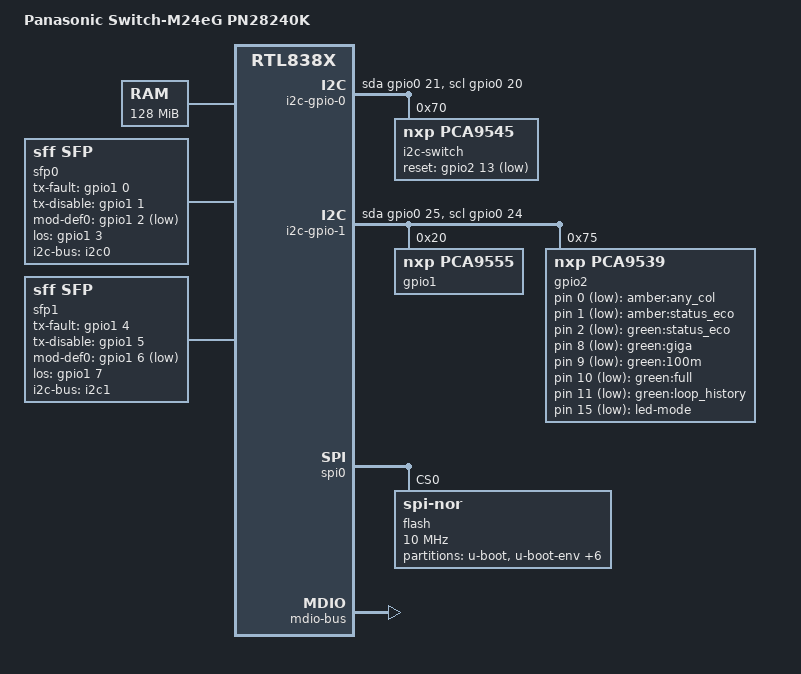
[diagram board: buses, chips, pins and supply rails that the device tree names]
// SPDX-License-Identifier: GPL-2.0-or-later OR MIT

#include "rtl838x.dtsi"

#include <dt-bindings/input/input.h>
#include <dt-bindings/gpio/gpio.h>

/ {
	compatible = "panasonic,m24eg-pn28240k", "realtek,rtl838x-soc";
	model = "Panasonic Switch-M24eG PN28240K";

	aliases {
		led-boot = &led_status_eco_green;
		led-failsafe = &led_status_eco_amber;
		led-running = &led_status_eco_green;
		led-upgrade = &led_status_eco_green;
	};

	chosen {
		bootargs = "console=ttyS0,9600";
	};

	memory@0 {
		device_type = "memory";
		reg = <0x0 0x8000000>;
	};

	leds {
		compatible = "gpio-leds";

		any_collision {
			label = "amber:any_col";
			gpios = <&gpio2 0 GPIO_ACTIVE_LOW>;
		};

		led_status_eco_amber: status_eco_amber {
			label = "amber:status_eco";
			gpios = <&gpio2 1 GPIO_ACTIVE_LOW>;
		};

		led_status_eco_green: status_eco_green {
			label = "green:status_eco";
			gpios = <&gpio2 2 GPIO_ACTIVE_LOW>;
		};

		giga {
			label = "green:giga";
			gpios = <&gpio2 8 GPIO_ACTIVE_LOW>;
		};

		100m {
			label = "green:100m";
			gpios = <&gpio2 9 GPIO_ACTIVE_LOW>;
		};

		full_duplex {
			label = "green:full";
			gpios = <&gpio2 10 GPIO_ACTIVE_LOW>;
		};

		loop_history {
			label = "green:loop_history";
			gpios = <&gpio2 11 GPIO_ACTIVE_LOW>;
		};
	};

	keys {
		compatible = "gpio-keys-polled";
		poll-interval = <20>;

		led_mode {
			label = "led-mode";
			gpios = <&gpio2 15 GPIO_ACTIVE_LOW>;
			linux,code = <BTN_0>;
		};
	};

	/* Switch-M24eG PN28240K has no RTL8231 chip */
	/delete-node/ rtl8231-gpio;

	i2c-gpio-0 {
		compatible = "i2c-gpio";
		/* SoC GPIO 12 */
		scl-gpios = <&gpio0 20 (GPIO_ACTIVE_HIGH | GPIO_OPEN_DRAIN)>;
		/* SoC GPIO 13 */
		sda-gpios = <&gpio0 21 (GPIO_ACTIVE_HIGH | GPIO_OPEN_DRAIN)>;
		i2c-gpio,delay-us = <2>;
		#address-cells = <1>;
		#size-cells = <0>;

		i2c-switch@70 {
			compatible = "nxp,pca9545";
			reset-gpios = <&gpio2 13 GPIO_ACTIVE_LOW>;
			reg = <0x70>;
			#address-cells = <1>;
			#size-cells = <0>;

			/* for port 23 (combo) SFP */
			i2c0: i2c@0 {
				#address-cells = <1>;
				#size-cells = <0>;
				reg = <0>;
			};

			/* for port 24 (combo) SFP */
			i2c1: i2c@1 {
				#address-cells = <1>;
				#size-cells = <0>;
				reg = <1>;
			};
		};
	};

	i2c-gpio-1 {
		compatible = "i2c-gpio";
		/* SoC GPIO 0 */
		scl-gpios = <&gpio0 24 (GPIO_ACTIVE_HIGH | GPIO_OPEN_DRAIN)>;
		/* SoC GPIO 1 */
		sda-gpios = <&gpio0 25 (GPIO_ACTIVE_HIGH | GPIO_OPEN_DRAIN)>;
		i2c-gpio,delay-us = <2>;
		#address-cells = <1>;
		#size-cells = <0>;

		gpio1: gpio@20 {
			compatible = "nxp,pca9555";
			reg = <0x20>;
			gpio-controller;
			#gpio-cells = <2>;
		};

		gpio2: gpio@75 {
			compatible = "nxp,pca9539";
			reg = <0x75>;
			gpio-controller;
			#gpio-cells = <2>;

			/* GPIO12 (IO1_4): RTL8218B + RTL8218FB */
			ext_switch_reset {
				gpio-hog;
				gpios = <12 GPIO_ACTIVE_HIGH>;
				output-high;
				line-name = "ext-switch-reset";
			};

			/* GPIO14 (IO1_6): 6x Shift Register (port LED) */
			portled_sregister_reset {
				gpio-hog;
				gpios = <14 GPIO_ACTIVE_HIGH>;
				output-high;
				line-name = "portled-sregister-reset";
			};
		};
	};

	/*
	 * sfp0/1 are "combo" port with each TP port (23/24), and they are
	 * connected to the RTL8218FB. Currently, there is no support for
	 * the chip and only TP ports work by the RTL8218D support.
	 */
	sfp0: sfp-p23 {
		compatible = "sff,sfp";
		i2c-bus = <&i2c0>;
		tx-fault-gpio = <&gpio1 0 GPIO_ACTIVE_HIGH>;
		tx-disable-gpio = <&gpio1 1 GPIO_ACTIVE_HIGH>;
		mod-def0-gpio = <&gpio1 2 GPIO_ACTIVE_LOW>;
		los-gpio = <&gpio1 3 GPIO_ACTIVE_HIGH>;
	};

	sfp1: sfp-p24 {
		compatible = "sff,sfp";
		i2c-bus = <&i2c1>;
		tx-fault-gpio = <&gpio1 4 GPIO_ACTIVE_HIGH>;
		tx-disable-gpio = <&gpio1 5 GPIO_ACTIVE_HIGH>;
		mod-def0-gpio = <&gpio1 6 GPIO_ACTIVE_LOW>;
		los-gpio = <&gpio1 7 GPIO_ACTIVE_HIGH>;
	};
};

&gpio0 {
	indirect-access-bus-id = <0>;
};

&spi0 {
	status = "okay";

	flash@0 {
		compatible = "jedec,spi-nor";
		reg = <0>;
		spi-max-frequency = <10000000>;

		partitions {
			compatible = "fixed-partitions";
			#address-cells = <1>;
			#size-cells = <1>;

			partition@0 {
				label = "u-boot";
				reg = <0x0 0x80000>;
				read-only;
			};

			partition@80000 {
				label = "u-boot-env";
				reg = <0x80000 0x10000>;
			};

			partition@90000 {
				label = "u-boot-env2";
				reg = <0x90000 0x10000>;
			};

			partition@a0000 {
				label = "sysinfo";
				reg = <0xa0000 0x60000>;
				read-only;
			};

			/*
			 * 0x100000 - 0x1DFFFFF
			 * Filesystem area for runtime images and
			 * configuration files in stock firmware
			 */

			/*
			 * re-created filesystem area, 2x stock images
			 * are included with checksum files
			 */
			partition@100000 {
				label = "fs_reserved";
				reg = <0x100000 0xd00000>;
			};

			/* free area for OpenWrt */
			partition@e00000 {
				compatible = "denx,uimage";
				label = "firmware";
				reg = <0xe00000 0x1000000>;
			};

			partition@1e00000 {
				label = "vlog_data";
				reg = <0x1e00000 0x100000>;
				read-only;
			};

			partition@1f00000 {
				label = "elog_data";
				reg = <0x1f00000 0x100000>;
				read-only;
			};
		};
	};
};

&ethernet0 {
	mdio-bus {
		compatible = "realtek,rtl838x-mdio";
		regmap = <&ethernet0>;
		#address-cells = <1>;
		#size-cells = <0>;

		EXTERNAL_PHY(0)
		EXTERNAL_PHY(1)
		EXTERNAL_PHY(2)
		EXTERNAL_PHY(3)
		EXTERNAL_PHY(4)
		EXTERNAL_PHY(5)
		EXTERNAL_PHY(6)
		EXTERNAL_PHY(7)

		INTERNAL_PHY(8)
		INTERNAL_PHY(9)
		INTERNAL_PHY(10)
		INTERNAL_PHY(11)
		INTERNAL_PHY(12)
		INTERNAL_PHY(13)
		INTERNAL_PHY(14)
		INTERNAL_PHY(15)

		EXTERNAL_PHY(16)
		EXTERNAL_PHY(17)
		EXTERNAL_PHY(18)
		EXTERNAL_PHY(19)
		EXTERNAL_PHY(20)
		EXTERNAL_PHY(21)
		EXTERNAL_PHY(22)
		EXTERNAL_PHY(23)
	};
};

&switch0 {
	ports {
		#address-cells = <1>;
		#size-cells = <0>;

		SWITCH_PORT(0, 1, qsgmii)
		SWITCH_PORT(1, 2, qsgmii)
		SWITCH_PORT(2, 3, qsgmii)
		SWITCH_PORT(3, 4, qsgmii)
		SWITCH_PORT(4, 5, qsgmii)
		SWITCH_PORT(5, 6, qsgmii)
		SWITCH_PORT(6, 7, qsgmii)
		SWITCH_PORT(7, 8, qsgmii)

		SWITCH_PORT(8, 9, internal)
		SWITCH_PORT(9, 10, internal)
		SWITCH_PORT(10, 11, internal)
		SWITCH_PORT(11, 12, internal)
		SWITCH_PORT(12, 13, internal)
		SWITCH_PORT(13, 14, internal)
		SWITCH_PORT(14, 15, internal)
		SWITCH_PORT(15, 16, internal)

		SWITCH_PORT(16, 17, qsgmii)
		SWITCH_PORT(17, 18, qsgmii)
		SWITCH_PORT(18, 19, qsgmii)
		SWITCH_PORT(19, 20, qsgmii)
		SWITCH_PORT(20, 21, qsgmii)
		SWITCH_PORT(21, 22, qsgmii)
		SWITCH_PORT(22, 23, qsgmii)
		SWITCH_PORT(23, 24, qsgmii)

		port@28 {
			ethernet = <&ethernet0>;
			reg = <28>;
			phy-mode = "internal";

			fixed-link {
				speed = <1000>;
				full-duplex;
			};
		};
	};
};
